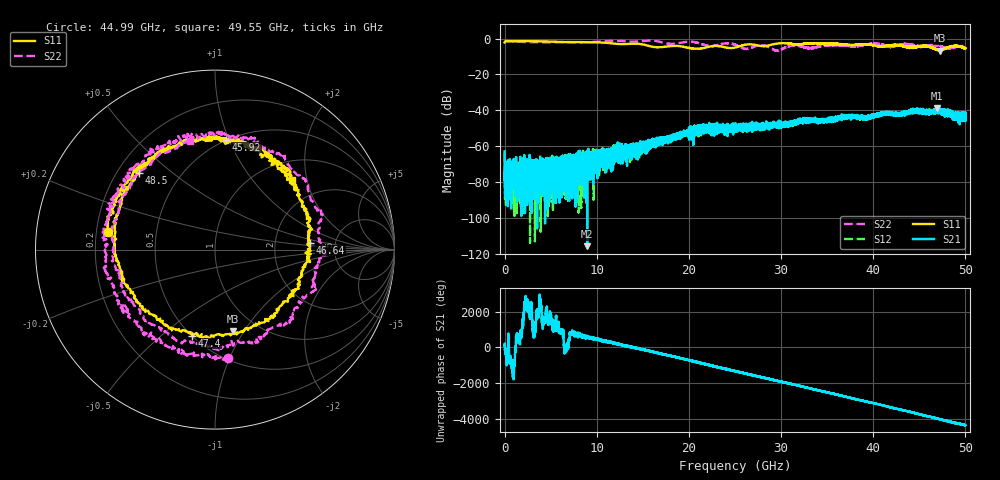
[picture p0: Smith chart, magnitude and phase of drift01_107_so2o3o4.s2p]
!Created with skrf (http://scikit-rf.org).
# Hz S RI R 50.0
!freq ReS11 ImS11 ReS21 ImS21 ReS12 ImS12 ReS22 ImS22
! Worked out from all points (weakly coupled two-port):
!   10001 points, 300 kHz to 50 GHz, reference 50 ohm
!   highest |S21| = -38.81 dB at 46.94 GHz (marker M1); lowest = -115.7 dB at 8.96 GHz (marker M2)
!   lowest |S11| = -6.6 dB at 47.22 GHz (marker M3), VSWR 2.74, Z = 38.5 - j44.7 ohm
!   |S11| at or under -10 dB: nowhere
!   |S22| runs from -6.8 to -1.0 dB; largest |S21 - S12| = 0.0044
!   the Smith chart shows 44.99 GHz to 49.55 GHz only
!   S11 on the Smith chart (normalised r, x): 44.99 GHz: 0.25, +0.08; 45.92 GHz: 0.49, +0.97; 46.64 GHz: 3.23, +0.35; 47.4 GHz: 0.50, -0.64; 48.5 GHz: 0.29, +0.39; 49.55 GHz: 1.40, +1.64
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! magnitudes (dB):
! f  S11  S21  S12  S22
! 300 kHz  -2.1  -62.9  -64.0  -1.3
! 260.3 MHz  -1.4  -84.9  -84.3  -1.4
! 5.435 GHz  -1.7  -70.5  -82.1  -2.0
! 8.335 GHz  -1.9  -68.9  -68.6  -2.1
! 8.96 GHz  -2.0  -115.7  -66.3  -2.0
! 16.67 GHz  -4.8  -55.5  -56.9  -1.6
! 21.91 GHz  -4.8  -48.6  -48.4  -3.9
! 25 GHz  -5.0  -49.3  -50.3  -3.4
! 28.09 GHz  -4.2  -48.4  -48.2  -3.8
! 29.55 GHz  -2.8  -47.9  -47.8  -6.7
! 31.27 GHz  -3.0  -47.8  -46.8  -4.0
! 33.34 GHz  -2.6  -46.2  -45.8  -5.3
! 41.67 GHz  -3.9  -41.2  -41.6  -4.4
! 44.99 GHz  -4.4  -40.7  -40.3  -4.3
! 45.92 GHz  -4.2  -40.9  -41.0  -3.9
! 46.64 GHz  -5.5  -40.1  -40.2  -3.8
! 46.94 GHz  -6.3  -38.8  -39.7  -3.8
! 47.22 GHz  -6.6  -40.9  -40.2  -4.4
! 47.4 GHz  -6.1  -41.2  -40.7  -4.6
! 48.5 GHz  -4.4  -42.4  -42.1  -5.4
! 49.55 GHz  -4.7  -44.3  -42.4  -4.1
! 50 GHz  -5.4  -41.3  -42.7  -4.3
